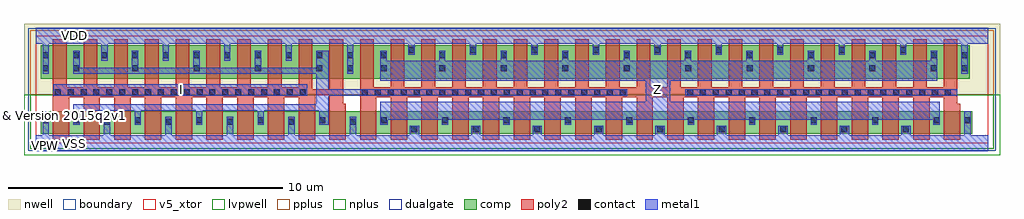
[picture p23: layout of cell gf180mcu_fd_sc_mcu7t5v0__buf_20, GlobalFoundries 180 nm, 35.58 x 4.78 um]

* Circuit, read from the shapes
.subckt gf180mcu_fd_sc_mcu7t5v0__buf_20 I VDD VNW VSS Z
XM1 n1 I VSS VSUBS nfet_05v0 w=0.82u l=0.6u m=10
XM2 Z n1 VSS VSUBS nfet_05v0 w=0.82u l=0.6u m=20
XM3 n1 I VDD VNW pfet_05v0 w=1.22u l=0.5u m=10
XM4 Z n1 VDD VNW pfet_05v0 w=1.22u l=0.5u m=20
.ends

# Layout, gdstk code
import gdstk
lib = gdstk.Library(unit=1e-6, precision=1e-09)
def R(c, l, rs):  # rectangles x0, y0, x1, y1
    for r in rs: c.add(gdstk.rectangle(r[:2], r[2:], *l))
def A(c, l, x, y, w, h, nx, ny, dx, dy):  # array of equal rectangles
    R(c, l, [(x+i*dx, y+j*dy, x+i*dx+w, y+j*dy+h) for i in range(nx) for j in range(ny)])
def P(c, l, *ps):  # polygons
    for p in ps: c.add(gdstk.Polygon(p, *l))
boundary = (0, 0)
nwell = (21, 0)
comp = (22, 0)
poly2 = (30, 0)
pplus = (31, 0)
nplus = (32, 0)
contact = (33, 0)
metal1 = (34, 0)
dualgate = (55, 0)
v5_xtor = (112, 1)
lvpwell = (204, 0)

gf180mcu_fd_sc_mcu7t5v0_ = lib.new_cell('gf180mcu_fd_sc_mcu7t5v0__buf_20')
R(gf180mcu_fd_sc_mcu7t5v0_, boundary, [(0,0,34.72,3.92)])
R(gf180mcu_fd_sc_mcu7t5v0_, nwell, [(-0.43,1.76,35.15,4.35)])
R(gf180mcu_fd_sc_mcu7t5v0_, comp, [(0.18,0.34,34.14,1.16), (0.18,2.36,34.04,3.58)])
P(gf180mcu_fd_sc_mcu7t5v0_, poly2, [(0.62,0.12),(0.62,3.8),(1.12,3.8),(1.12,2.035),(1.74,2.035),(1.74,3.8),(2.24,3.8),(2.24,2.035),(2.86,2.035),(2.86,3.8),(3.36,3.8),(3.36,2.035),(3.98,2.035),(3.98,3.8),(4.48,3.8),(4.48,2.035),(5.1,2.035),(5.1,3.8),(5.6,3.8),(5.6,2.035),(6.22,2.035),(6.22,3.8),(6.72,3.8),(6.72,2.035),(7.34,2.035),(7.34,3.8),(7.84,3.8),(7.84,2.035),(8.46,2.035),(8.46,3.8),(8.96,3.8),(8.96,2.035),(9.58,2.035),(9.58,3.8),(10.08,3.8),(10.08,1.97),(10.7,1.97),(10.7,3.8),(11.2,3.8),(11.2,1.44),(11.3,1.44),(11.3,0.12),(10.7,0.12),(10.7,1.75),(10.18,1.75),(10.18,0.12),(9.58,0.12),(9.58,1.675),(9.06,1.675),(9.06,0.12),(8.46,0.12),(8.46,1.675),(7.94,1.675),(7.94,0.12),(7.34,0.12),(7.34,1.675),(6.82,1.675),(6.82,0.12),(6.22,0.12),(6.22,1.675),(5.7,1.675),(5.7,0.12),(5.1,0.12),(5.1,1.675),(4.58,1.675),(4.58,0.12),(3.98,0.12),(3.98,1.675),(3.46,1.675),(3.46,0.12),(2.86,0.12),(2.86,1.675),(2.34,1.675),(2.34,0.12),(1.74,0.12),(1.74,1.675),(1.22,1.675),(1.22,0.12)],
  [(11.82,0.12),(11.82,3.8),(12.32,3.8),(12.32,2.035),(12.94,2.035),(12.94,3.8),(13.44,3.8),(13.44,2.035),(14.06,2.035),(14.06,3.8),(14.56,3.8),(14.56,2.035),(15.18,2.035),(15.18,3.8),(15.68,3.8),(15.68,2.035),(16.3,2.035),(16.3,3.8),(16.8,3.8),(16.8,2.035),(17.42,2.035),(17.42,3.8),(17.92,3.8),(17.92,2.035),(18.54,2.035),(18.54,3.8),(19.04,3.8),(19.04,2.035),(19.66,2.035),(19.66,3.8),(20.16,3.8),(20.16,2.035),(20.78,2.035),(20.78,3.8),(21.28,3.8),(21.28,2.035),(21.9,2.035),(21.9,3.8),(22.4,3.8),(22.4,2.035),(23.02,2.035),(23.02,3.8),(23.52,3.8),(23.52,2.035),(24.14,2.035),(24.14,3.8),(24.64,3.8),(24.64,2.035),(25.26,2.035),(25.26,3.8),(25.76,3.8),(25.76,2.035),(26.38,2.035),(26.38,3.8),(26.88,3.8),(26.88,2.035),(27.5,2.035),(27.5,3.8),(28,3.8),(28,2.035),(28.62,2.035),(28.62,3.8),(29.12,3.8),(29.12,2.035),(29.74,2.035),(29.74,3.8),(30.24,3.8),(30.24,2.035),(30.86,2.035),(30.86,3.8),(31.36,3.8),(31.36,2.035),(31.98,2.035),(31.98,3.8),(32.48,3.8),(32.48,2.035),(33.1,2.035),(33.1,3.8),(33.6,3.8),(33.6,1.44),(33.7,1.44),(33.7,0.12),(33.1,0.12),(33.1,1.675),(32.58,1.675),(32.58,0.12),(31.98,0.12),(31.98,1.675),(31.46,1.675),(31.46,0.12),(30.86,0.12),(30.86,1.675),(30.34,1.675),(30.34,0.12),(29.74,0.12),(29.74,1.675),(29.22,1.675),(29.22,0.12),(28.62,0.12),(28.62,1.675),(28.1,1.675),(28.1,0.12),(27.5,0.12),(27.5,1.675),(26.98,1.675),(26.98,0.12),(26.38,0.12),(26.38,1.675),(25.86,1.675),(25.86,0.12),(25.26,0.12),(25.26,1.675),(24.74,1.675),(24.74,0.12),(24.14,0.12),(24.14,1.675),(23.62,1.675),(23.62,0.12),(23.02,0.12),(23.02,1.675),(22.5,1.675),(22.5,0.12),(21.9,0.12),(21.9,1.675),(21.38,1.675),(21.38,0.12),(20.78,0.12),(20.78,1.675),(20.26,1.675),(20.26,0.12),(19.66,0.12),(19.66,1.675),(19.14,1.675),(19.14,0.12),(18.54,0.12),(18.54,1.675),(18.02,1.675),(18.02,0.12),(17.42,0.12),(17.42,1.675),(16.9,1.675),(16.9,0.12),(16.3,0.12),(16.3,1.675),(15.78,1.675),(15.78,0.12),(15.18,0.12),(15.18,1.675),(14.66,1.675),(14.66,0.12),(14.06,0.12),(14.06,1.675),(13.54,1.675),(13.54,0.12),(12.94,0.12),(12.94,1.675),(12.42,1.675),(12.42,0.12)])
R(gf180mcu_fd_sc_mcu7t5v0_, pplus, [(-0.2,1.76,34.92,4.12)])
R(gf180mcu_fd_sc_mcu7t5v0_, nplus, [(-0.2,-0.2,34.92,1.76)])
A(gf180mcu_fd_sc_mcu7t5v0_, contact, 13.69, 0.41, 0.22, 0.22, 9, 1, 2.24, 0)
A(gf180mcu_fd_sc_mcu7t5v0_, contact, 2.49, 0.68, 0.22, 0.22, 5, 1, 2.24, 0)
A(gf180mcu_fd_sc_mcu7t5v0_, contact, 1.37, 0.735, 0.22, 0.22, 15, 1, 2.24, 0)
A(gf180mcu_fd_sc_mcu7t5v0_, contact, 0.69, 1.745, 0.22, 0.22, 20, 1, 0.47, 0)
A(gf180mcu_fd_sc_mcu7t5v0_, contact, 11.89, 1.745, 0.22, 0.22, 21, 1, 0.47, 0)
A(gf180mcu_fd_sc_mcu7t5v0_, contact, 23.74, 1.745, 0.22, 0.22, 21, 1, 0.47, 0)
A(gf180mcu_fd_sc_mcu7t5v0_, contact, 3.51, 2.63, 0.22, 0.22, 4, 1, 2.24, 0)
A(gf180mcu_fd_sc_mcu7t5v0_, contact, 14.71, 2.63, 0.22, 0.22, 9, 2, 2.24, 0.47)
A(gf180mcu_fd_sc_mcu7t5v0_, contact, 2.39, 3.1, 0.22, 0.22, 9, 1, 1.12, 0)
A(gf180mcu_fd_sc_mcu7t5v0_, contact, 13.59, 3.29, 0.22, 0.22, 9, 1, 2.24, 0)
R(gf180mcu_fd_sc_mcu7t5v0_, contact, [(0.25,0.735,0.47,0.955), (33.85,0.735,34.07,0.955), (0.25,2.63,0.47,2.85), (1.37,2.63,1.59,2.85), (11.35,2.63,11.57,2.85), (12.57,2.63,12.79,2.85), (33.75,2.63,33.97,2.85), (0.25,3.1,0.47,3.32), (1.37,3.1,1.59,3.32), (12.57,3.1,12.79,3.32), (33.75,3.1,33.97,3.32)])
R(gf180mcu_fd_sc_mcu7t5v0_, metal1, [(0.63,1.74,9.9,2.15), (23.68,1.74,33.6,1.97)])
P(gf180mcu_fd_sc_mcu7t5v0_, metal1, [(1.365,0.675),(1.365,1.42),(10.225,1.42),(10.225,2.53),(1.365,2.53),(1.365,3.38),(1.595,3.38),(1.595,2.76),(3.505,2.76),(3.505,3.38),(3.735,3.38),(3.735,2.76),(5.745,2.76),(5.745,3.38),(5.975,3.38),(5.975,2.76),(7.985,2.76),(7.985,3.38),(8.215,3.38),(8.215,2.76),(10.225,2.76),(10.225,3.38),(10.68,3.38),(10.68,1.97),(21.57,1.97),(21.57,1.74),(10.68,1.74),(10.68,0.675),(10.325,0.675),(10.325,1.19),(8.315,1.19),(8.315,0.675),(8.085,0.675),(8.085,1.19),(6.075,1.19),(6.075,0.675),(5.845,0.675),(5.845,1.19),(3.835,1.19),(3.835,0.675),(3.605,0.675),(3.605,1.19),(1.595,1.19),(1.595,0.675)],
  [(12.565,0.675),(12.565,1.51),(22.23,1.51),(22.23,2.27),(12.565,2.27),(12.565,3.38),(12.795,3.38),(12.795,3),(14.705,3),(14.705,3.38),(14.935,3.38),(14.935,3),(16.945,3),(16.945,3.38),(17.175,3.38),(17.175,3),(19.185,3),(19.185,3.38),(19.415,3.38),(19.415,3),(21.425,3),(21.425,3.38),(21.655,3.38),(21.655,3),(23.665,3),(23.665,3.38),(23.895,3.38),(23.895,3),(25.905,3),(25.905,3.38),(26.135,3.38),(26.135,3),(28.145,3),(28.145,3.38),(28.375,3.38),(28.375,3),(30.385,3),(30.385,3.38),(30.615,3.38),(30.615,3),(32.625,3),(32.625,3.38),(32.855,3.38),(32.855,2.27),(23.13,2.27),(23.13,1.51),(32.955,1.51),(32.955,0.675),(32.725,0.675),(32.725,0.865),(30.715,0.865),(30.715,0.675),(30.485,0.675),(30.485,0.865),(28.475,0.865),(28.475,0.675),(28.245,0.675),(28.245,0.865),(26.235,0.865),(26.235,0.675),(26.005,0.675),(26.005,0.865),(23.995,0.865),(23.995,0.675),(23.765,0.675),(23.765,0.865),(21.755,0.865),(21.755,0.675),(21.525,0.675),(21.525,0.865),(19.515,0.865),(19.515,0.675),(19.285,0.675),(19.285,0.865),(17.275,0.865),(17.275,0.675),(17.045,0.675),(17.045,0.865),(15.035,0.865),(15.035,0.675),(14.805,0.675),(14.805,0.865),(12.825,0.865),(12.825,0.675)],
  [(0,-0.3),(0,0.3),(0.245,0.3),(0.245,1.16),(0.475,1.16),(0.475,0.3),(2.485,0.3),(2.485,0.96),(2.715,0.96),(2.715,0.3),(4.725,0.3),(4.725,0.96),(4.955,0.96),(4.955,0.3),(6.965,0.3),(6.965,0.96),(7.195,0.96),(7.195,0.3),(9.205,0.3),(9.205,0.96),(9.435,0.96),(9.435,0.3),(11.445,0.3),(11.445,0.96),(11.675,0.96),(11.675,0.3),(13.63,0.3),(13.63,0.635),(13.97,0.635),(13.97,0.3),(15.87,0.3),(15.87,0.635),(16.21,0.635),(16.21,0.3),(18.11,0.3),(18.11,0.635),(18.45,0.635),(18.45,0.3),(20.35,0.3),(20.35,0.635),(20.69,0.635),(20.69,0.3),(22.59,0.3),(22.59,0.635),(22.93,0.635),(22.93,0.3),(24.83,0.3),(24.83,0.635),(25.17,0.635),(25.17,0.3),(27.07,0.3),(27.07,0.635),(27.41,0.635),(27.41,0.3),(29.31,0.3),(29.31,0.635),(29.65,0.635),(29.65,0.3),(31.55,0.3),(31.55,0.635),(31.89,0.635),(31.89,0.3),(33.845,0.3),(33.845,1.16),(34.075,1.16),(34.075,0.3),(34.72,0.3),(34.72,-0.3)],
  [(0.245,2.53),(0.245,3.62),(0,3.62),(0,4.22),(34.72,4.22),(34.72,3.62),(33.975,3.62),(33.975,2.53),(33.745,2.53),(33.745,3.62),(31.735,3.62),(31.735,3.23),(31.505,3.23),(31.505,3.62),(29.495,3.62),(29.495,3.23),(29.265,3.23),(29.265,3.62),(27.255,3.62),(27.255,3.23),(27.025,3.23),(27.025,3.62),(25.015,3.62),(25.015,3.23),(24.785,3.23),(24.785,3.62),(22.775,3.62),(22.775,3.23),(22.545,3.23),(22.545,3.62),(20.535,3.62),(20.535,3.23),(20.305,3.23),(20.305,3.62),(18.295,3.62),(18.295,3.23),(18.065,3.23),(18.065,3.62),(16.055,3.62),(16.055,3.23),(15.825,3.23),(15.825,3.62),(13.815,3.62),(13.815,3.23),(13.585,3.23),(13.585,3.62),(11.575,3.62),(11.575,2.53),(11.345,2.53),(11.345,3.62),(9.335,3.62),(9.335,3),(9.105,3),(9.105,3.62),(7.095,3.62),(7.095,3),(6.865,3),(6.865,3.62),(4.855,3.62),(4.855,3),(4.625,3),(4.625,3.62),(2.615,3.62),(2.615,3),(2.385,3),(2.385,3.62),(0.475,3.62),(0.475,2.53)])
R(gf180mcu_fd_sc_mcu7t5v0_, dualgate, [(-0.28,-0.28,35,4.2)])
R(gf180mcu_fd_sc_mcu7t5v0_, v5_xtor, [(0,0,34.72,3.92)])
R(gf180mcu_fd_sc_mcu7t5v0_, lvpwell, [(-0.43,-0.43,35.15,1.76)])
gf180mcu_fd_sc_mcu7t5v0_.add(gdstk.Label('VDD', (1.4,3.92), layer=34, texttype=10))
gf180mcu_fd_sc_mcu7t5v0_.add(gdstk.Label('VSS', (1.4,0), layer=34, texttype=10))
gf180mcu_fd_sc_mcu7t5v0_.add(gdstk.Label('Z', (22.68,1.96), layer=34, texttype=10))
gf180mcu_fd_sc_mcu7t5v0_.add(gdstk.Label('I', (5.32,1.96), layer=34, texttype=10))
gf180mcu_fd_sc_mcu7t5v0_.add(gdstk.Label('& Vendor GLOBALFOUNDRIES', (0,2), layer=63, texttype=63))
gf180mcu_fd_sc_mcu7t5v0_.add(gdstk.Label('& Product GF018hv5v_mcu_sc7', (0,1.5), layer=63, texttype=63))
gf180mcu_fd_sc_mcu7t5v0_.add(gdstk.Label('& Version 2015q2v1', (0,1), layer=63, texttype=63))
gf180mcu_fd_sc_mcu7t5v0_.add(gdstk.Label('& Metric 1.00', (0,0.5), layer=63, texttype=63))
gf180mcu_fd_sc_mcu7t5v0_.add(gdstk.Label('VNW', (0.345,3.92), layer=21, texttype=10))
gf180mcu_fd_sc_mcu7t5v0_.add(gdstk.Label('VPW', (0.34,-0.085), layer=204, texttype=10))

lib.write_gds('gf180mcu_fd_sc_mcu7t5v0__buf_20.gds')
